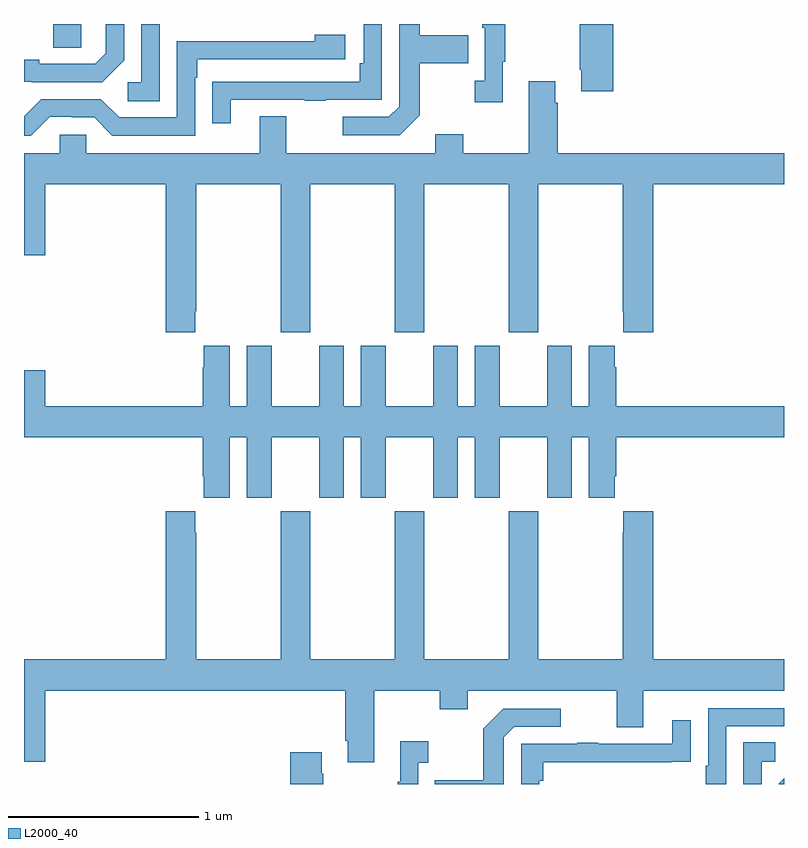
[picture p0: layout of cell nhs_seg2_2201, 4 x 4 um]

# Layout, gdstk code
import gdstk
lib = gdstk.Library(unit=1e-6, precision=1e-09)
def R(c, l, rs):  # rectangles x0, y0, x1, y1
    for r in rs: c.add(gdstk.rectangle(r[:2], r[2:], *l))
def P(c, l, *ps):  # polygons
    for p in ps: c.add(gdstk.Polygon(p, *l))
L2000_40 = (2000, 40)

nhs_seg2_2201 = lib.new_cell('nhs_seg2_2201')
R(nhs_seg2_2201, L2000_40, [(225.155,661.675,225.3,661.8)])
P(nhs_seg2_2201, L2000_40, [(227.083,661.321),(227.083,661.594),(227.339,661.594),(227.339,661.741),(227.083,661.741),(227.083,661.8),(226.974,661.8),(226.974,661.365),(226.92,661.311),(226.677,661.311),(226.677,661.215),(226.977,661.215)],
  [(226.087,661.401),(226.477,661.401),(226.477,661.396),(226.589,661.396),(226.589,661.401),(226.884,661.401),(226.884,661.8),(226.788,661.8),(226.788,661.594),(226.768,661.594),(226.768,661.497),(226.093,661.497),(226.093,661.496),(225.991,661.496),(225.991,661.278),(226.087,661.278)],
  [(227.521,661.601),(227.533,661.601),(227.533,661.8),(227.412,661.8),(227.412,661.781),(227.424,661.781),(227.424,661.502),(227.373,661.502),(227.373,661.389),(227.521,661.389)],
  [(228.101,661.8),(227.926,661.8),(227.926,661.558),(227.933,661.558),(227.933,661.446),(228.101,661.446)],
  [(225.528,661.61),(225.528,661.8),(225.431,661.8),(225.431,661.647),(225.374,661.59),(225.079,661.59),(225.079,661.613),(225,661.613),(225,661.497),(225.04,661.497),(225.04,661.494),(225.412,661.494)],
  [(225.714,661.8),(225.618,661.8),(225.618,661.494),(225.546,661.494),(225.546,661.393),(225.714,661.393)],
  [(225.135,661.311),(225.251,661.311),(225.251,661.308),(225.369,661.308),(225.465,661.212),(225.9,661.212),(225.9,661.517),(225.913,661.517),(225.913,661.614),(226.69,661.614),(226.69,661.744),(226.529,661.744),(226.529,661.71),(225.804,661.71),(225.804,661.308),(225.501,661.308),(225.405,661.404),(225.09,661.404),(225,661.314),(225,661.211),(225.035,661.211)],
  [(225.901,660.289),(225.906,660.289),(225.906,660.956),(226.351,660.956),(226.351,660.177),(226.506,660.177),(226.506,660.956),(226.951,660.956),(226.951,660.177),(227.106,660.177),(227.106,660.956),(227.551,660.956),(227.551,660.177),(227.706,660.177),(227.706,660.956),(228.151,660.956),(228.151,660.289),(228.155,660.289),(228.155,660.177),(228.311,660.177),(228.311,660.956),(229,660.956),(229,661.12),(227.81,661.12),(227.81,661.385),(227.797,661.385),(227.797,661.498),(227.657,661.498),(227.657,661.12),(227.313,661.12),(227.313,661.219),(227.165,661.219),(227.165,661.12),(226.381,661.12),(226.381,661.315),(226.241,661.315),(226.241,661.12),(225.327,661.12),(225.327,661.218),(225.189,661.218),(225.189,661.12),(225,661.12),(225,660.582),(225.112,660.582),(225.112,660.956),(225.746,660.956),(225.746,660.177),(225.901,660.177)],
  [(226.084,659.624),(226.172,659.624),(226.172,659.307),(226.303,659.307),(226.303,659.624),(226.553,659.624),(226.553,659.307),(226.684,659.307),(226.684,659.624),(226.772,659.624),(226.772,659.307),(226.903,659.307),(226.903,659.624),(227.153,659.624),(227.153,659.307),(227.284,659.307),(227.284,659.624),(227.372,659.624),(227.372,659.307),(227.503,659.307),(227.503,659.624),(227.753,659.624),(227.753,659.307),(227.884,659.307),(227.884,659.624),(227.972,659.624),(227.972,659.307),(228.109,659.307),(228.109,659.419),(228.116,659.419),(228.116,659.624),(229,659.624),(229,659.788),(228.116,659.788),(228.116,659.993),(228.109,659.993),(228.109,660.106),(227.972,660.106),(227.972,659.788),(227.884,659.788),(227.884,660.106),(227.753,660.106),(227.753,659.788),(227.503,659.788),(227.503,660.106),(227.372,660.106),(227.372,659.788),(227.284,659.788),(227.284,660.106),(227.153,660.106),(227.153,659.788),(226.903,659.788),(226.903,660.106),(226.772,660.106),(226.772,659.788),(226.684,659.788),(226.684,660.106),(226.553,660.106),(226.553,659.788),(226.303,659.788),(226.303,660.106),(226.172,660.106),(226.172,659.788),(226.084,659.788),(226.084,660.106),(225.947,660.106),(225.947,659.993),(225.941,659.993),(225.941,659.788),(225.112,659.788),(225.112,659.977),(225,659.977),(225,659.624),(225.941,659.624),(225.941,659.419),(225.947,659.419),(225.947,659.307),(226.084,659.307)],
  [(226.843,658.292),(227.188,658.292),(227.188,658.193),(227.335,658.193),(227.335,658.292),(228.119,658.292),(228.119,658.098),(228.259,658.098),(228.259,658.292),(229,658.292),(229,658.456),(228.311,658.456),(228.311,659.236),(228.155,659.236),(228.155,659.123),(228.151,659.123),(228.151,658.456),(227.706,658.456),(227.706,659.236),(227.551,659.236),(227.551,658.456),(227.106,658.456),(227.106,659.236),(226.951,659.236),(226.951,658.456),(226.506,658.456),(226.506,659.236),(226.351,659.236),(226.351,658.456),(225.906,658.456),(225.906,659.123),(225.901,659.123),(225.901,659.236),(225.746,659.236),(225.746,658.456),(225,658.456),(225,657.918),(225.112,657.918),(225.112,658.292),(226.691,658.292),(226.691,658.027),(226.703,658.027),(226.703,657.915),(226.843,657.915)],
  [(228.696,658.104),(228.999,658.104),(229,658.103),(229,658.2),(228.6,658.2),(228.6,657.895),(228.587,657.895),(228.587,657.8),(228.696,657.8)],
  [(227.526,658.047),(227.58,658.101),(227.824,658.101),(227.824,658.197),(227.523,658.197),(227.418,658.091),(227.418,657.819),(227.161,657.819),(227.161,657.8),(227.526,657.8)],
  [(227.712,657.818),(227.732,657.818),(227.732,657.915),(228.407,657.915),(228.407,657.916),(228.509,657.916),(228.509,658.135),(228.413,658.135),(228.413,658.011),(228.023,658.011),(228.023,658.016),(227.911,658.016),(227.911,658.011),(227.616,658.011),(227.616,657.8),(227.712,657.8)],
  [(227.076,657.911),(227.128,657.911),(227.128,658.024),(226.979,658.024),(226.979,657.811),(226.968,657.811),(226.968,657.8),(227.076,657.8)],
  [(228.882,657.918),(228.955,657.918),(228.955,658.019),(228.786,658.019),(228.786,657.8),(228.882,657.8)],
  [(226.575,657.854),(226.567,657.854),(226.567,657.967),(226.4,657.967),(226.4,657.8),(226.575,657.8)],
  [(229,657.83),(228.972,657.802),(228.972,657.8),(229,657.8)])

lib.write_gds('nhs_seg2_2201.gds')
